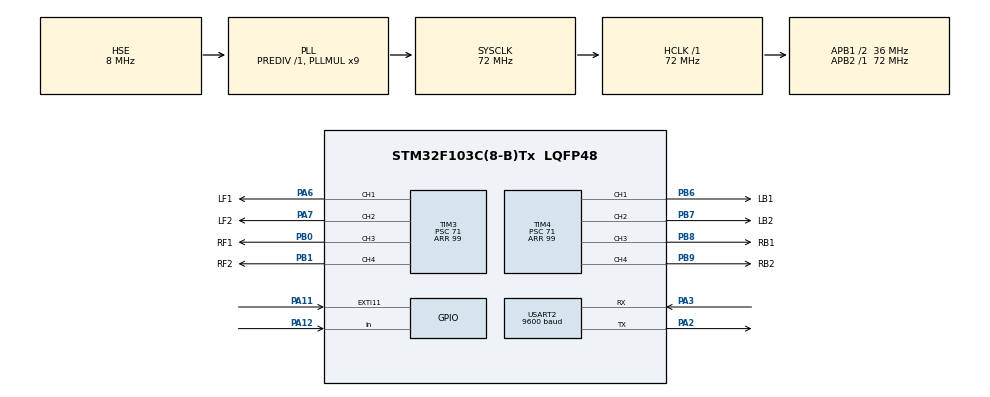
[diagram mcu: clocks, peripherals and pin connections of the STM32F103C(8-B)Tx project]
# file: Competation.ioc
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Mcu.Family=STM32F1
Mcu.Name=STM32F103C(8-B)Tx
Mcu.Package=LQFP48
NVIC.EXTI15_10_IRQn=true\:0\:0\:false\:false\:true\:true\:true\:true
NVIC.PriorityGroup=NVIC_PRIORITYGROUP_4
NVIC.USART2_IRQn=true\:0\:0\:false\:false\:true\:true\:true\:true
PA11.Signal=GPXTI11
PA12.GPIO_PuPd=GPIO_PULLDOWN
PA12.Signal=GPIO_Input
PA13.Mode=Serial_Wire
PA13.Signal=SYS_JTMS-SWDIO
PA14.Mode=Serial_Wire
PA14.Signal=SYS_JTCK-SWCLK
PA2.Mode=Asynchronous
PA2.Signal=USART2_TX
PA3.Mode=Asynchronous
PA3.Signal=USART2_RX
PA6.GPIO_Label=LF1
PA6.Signal=S_TIM3_CH1
PA7.GPIO_Label=LF2
PA7.Signal=S_TIM3_CH2
PB0.GPIO_Label=RF1
PB0.Signal=S_TIM3_CH3
PB1.GPIO_Label=RF2
PB1.Signal=S_TIM3_CH4
PB6.GPIO_Label=LB1
PB6.Signal=S_TIM4_CH1
PB7.GPIO_Label=LB2
PB7.Signal=S_TIM4_CH2
PB8.GPIO_Label=RB1
PB8.Signal=S_TIM4_CH3
PB9.GPIO_Label=RB2
PB9.Signal=S_TIM4_CH4
PD0-OSC_IN.Mode=HSE-External-Oscillator
PD0-OSC_IN.Signal=RCC_OSC_IN
PD1-OSC_OUT.Mode=HSE-External-Oscillator
PD1-OSC_OUT.Signal=RCC_OSC_OUT
ProjectManager.HeapSize=0x200
ProjectManager.StackSize=0x400
ProjectManager.TargetToolchain=CMake
RCC.AHBFreq_Value=72000000
RCC.APB1CLKDivider=RCC_HCLK_DIV2
RCC.APB1Freq_Value=36000000
RCC.APB1TimFreq_Value=72000000
RCC.APB2Freq_Value=72000000
RCC.APB2TimFreq_Value=72000000
RCC.HCLKFreq_Value=72000000
RCC.PLLMUL=RCC_PLL_MUL9
RCC.PLLSourceVirtual=RCC_PLLSOURCE_HSE
RCC.SYSCLKFreq_VALUE=72000000
RCC.SYSCLKSource=RCC_SYSCLKSOURCE_PLLCLK
RCC.USBFreq_Value=72000000
SH.S_TIM3_CH1.0=TIM3_CH1,PWM Generation1 CH1
SH.S_TIM3_CH2.0=TIM3_CH2,PWM Generation2 CH2
SH.S_TIM3_CH3.0=TIM3_CH3,PWM Generation3 CH3
SH.S_TIM3_CH4.0=TIM3_CH4,PWM Generation4 CH4
SH.S_TIM4_CH1.0=TIM4_CH1,PWM Generation1 CH1
SH.S_TIM4_CH2.0=TIM4_CH2,PWM Generation2 CH2
SH.S_TIM4_CH3.0=TIM4_CH3,PWM Generation3 CH3
SH.S_TIM4_CH4.0=TIM4_CH4,PWM Generation4 CH4
TIM3.AutoReloadPreload=TIM_AUTORELOAD_PRELOAD_ENABLE
TIM3.Channel-PWM\ Generation1\ CH1=TIM_CHANNEL_1
TIM3.Channel-PWM\ Generation2\ CH2=TIM_CHANNEL_2
TIM3.Channel-PWM\ Generation3\ CH3=TIM_CHANNEL_3
TIM3.Channel-PWM\ Generation4\ CH4=TIM_CHANNEL_4
TIM3.CounterMode=TIM_COUNTERMODE_UP
TIM3.Period=99
TIM3.Prescaler=71
TIM4.AutoReloadPreload=TIM_AUTORELOAD_PRELOAD_ENABLE
TIM4.Channel-PWM\ Generation1\ CH1=TIM_CHANNEL_1
TIM4.Channel-PWM\ Generation2\ CH2=TIM_CHANNEL_2
TIM4.Channel-PWM\ Generation3\ CH3=TIM_CHANNEL_3
TIM4.Channel-PWM\ Generation4\ CH4=TIM_CHANNEL_4
TIM4.Period=99
TIM4.Prescaler=71
USART2.BaudRate=9600
USART2.VirtualMode=VM_ASYNC
VP_TIM3_VS_ClockSourceINT.Mode=Internal
VP_TIM4_VS_ClockSourceINT.Mode=Internal
board=custom

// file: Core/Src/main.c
/* USER CODE BEGIN Header */
/**
  ******************************************************************************
  * @file           : main.c
  * @brief          : Main program body
  ******************************************************************************
  * @attention
  *
  * Copyright (c) 2026 STMicroelectronics.
  * All rights reserved.
  *
  * This software is licensed under terms that can be found in the LICENSE file
  * in the root directory of this software component.
  * If no LICENSE file comes with this software, it is provided AS-IS.
  *
  ******************************************************************************
  */
/* USER CODE END Header */
#include "main.h"
#include "tim.h"
#include "usart.h"
#include "gpio.h"

/* USER CODE BEGIN Includes */
#include "../../app/inc/app_motor.h"
#include "../../bsp/inc/Bluetooth.h"
#include "../../app/inc/motor_speed.h"
/* USER CODE END Includes */

/* USER CODE BEGIN PD */
/* 底盘调试模式：
 *   0 = 关闭，只跑你自己的正式逻辑；
 *   1 = 单轮点动标定：依次单独驱动 左前 -> 右前 -> 左后 -> 右后，各 1 秒。
 *       用来确认“哪个通道驱动哪个轮子”以及“正转是不是车头方向”；
 *   2 = 四动作自检：前进 -> 后退 -> 左转 -> 右转 -> 停车，各 1 秒。
 * 接线还没确认过时请用 1，标定完再改成 2 检查整车动作。 */
#define CAR_DEMO_MODE   0
/* USER CODE END PD */

void SystemClock_Config(void);

int main(void)
{

  /* MCU Configuration--------------------------------------------------------*/

  /* Reset of all peripherals, Initializes the Flash interface and the Systick. */
  HAL_Init();

  /* Configure the system clock */
  SystemClock_Config();

  /* Initialize all configured peripherals */
  MX_GPIO_Init();
  MX_TIM3_Init();
  MX_TIM4_Init();
  MX_USART2_UART_Init();
  /* USER CODE BEGIN 2 */
  HAL_UART_Receive_IT(&huart2, receive_Data, 1);
  /* 底盘初始化：启动 TIM3 / TIM4 共 8 路 PWM，默认速度 CAR_SPEED_DEFAULT */
  Car_Init();
  /* USER CODE END 2 */

  /* Infinite loop */
  /* USER CODE BEGIN WHILE */
  while (1)
  {
    Car_Backward();
    // HAL_Delay(10000);
    // Car_TurnRight();
    // HAL_Delay(2000);
    MotorSpeed_Calculation();
    /* USER CODE END WHILE */

    /* USER CODE BEGIN 3 */
#if (CAR_DEMO_MODE == 1)
    /* ---------- 单轮点动：同一时刻只有一个轮子转 ----------
     * 参数顺序是 (左前, 右前, 左后, 右后)，速度单位是百分比。
     * 每一段停下来时，记下：转的是哪个位置的轮子？转向是不是车头方向？ */
    Car_SetWheelSpeed( 40,  0,  0,  0);   /* 左前 LF：PA6 / PA7 */
    HAL_Delay(1000);
    Car_Stop();
    HAL_Delay(800);

    Car_SetWheelSpeed(  0, 40,  0,  0);   /* 右前 RF：PB0 / PB1 */
    HAL_Delay(1000);
    Car_Stop();
    HAL_Delay(800);

    Car_SetWheelSpeed(  0,  0, 40,  0);   /* 左后 LB：PB6 / PB7 */
    HAL_Delay(1000);
    Car_Stop();
    HAL_Delay(800);

    Car_SetWheelSpeed(  0,  0,  0, 40);   /* 右后 RB：PB8 / PB9 */
    HAL_Delay(1000);
    Car_Stop();
    HAL_Delay(1500);
#elif (CAR_DEMO_MODE == 2)
    /* ---------- 四动作自检：前进 -> 后退 -> 左转 -> 右转 -> 停车 ---------- */
    Car_Forward();
    HAL_Delay(1000);
    Car_Backward();
    HAL_Delay(1000);
    Car_TurnLeft();
    HAL_Delay(1000);
    Car_TurnRight();
    HAL_Delay(1000);
    Car_Stop();
    HAL_Delay(1000);
#else
    /* ---------- 正式逻辑写在这里，例如 ----------
     * Car_SetSpeed(60);
     * Car_Forward();
     * HAL_Delay(2000);
     * Car_TurnLeft();
     * HAL_Delay(500);
     * Car_Stop();
     */
#endif
  }
  /* USER CODE END 3 */
}

void SystemClock_Config(void)
{
  RCC_OscInitTypeDef RCC_OscInitStruct = {0};
  RCC_ClkInitTypeDef RCC_ClkInitStruct = {0};

  /** Initializes the RCC Oscillators according to the specified parameters
  * in the RCC_OscInitTypeDef structure.
  */
  RCC_OscInitStruct.OscillatorType = RCC_OSCILLATORTYPE_HSE;
  RCC_OscInitStruct.HSEState = RCC_HSE_ON;
  RCC_OscInitStruct.HSEPredivValue = RCC_HSE_PREDIV_DIV1;
  RCC_OscInitStruct.HSIState = RCC_HSI_ON;
  RCC_OscInitStruct.PLL.PLLState = RCC_PLL_ON;
  RCC_OscInitStruct.PLL.PLLSource = RCC_PLLSOURCE_HSE;
  RCC_OscInitStruct.PLL.PLLMUL = RCC_PLL_MUL9;
  if (HAL_RCC_OscConfig(&RCC_OscInitStruct) != HAL_OK)
  {
    Error_Handler();
  }

  /** Initializes the CPU, AHB and APB buses clocks
  */
  RCC_ClkInitStruct.ClockType = RCC_CLOCKTYPE_HCLK|RCC_CLOCKTYPE_SYSCLK
                              |RCC_CLOCKTYPE_PCLK1|RCC_CLOCKTYPE_PCLK2;
  RCC_ClkInitStruct.SYSCLKSource = RCC_SYSCLKSOURCE_PLLCLK;
  RCC_ClkInitStruct.AHBCLKDivider = RCC_SYSCLK_DIV1;
  RCC_ClkInitStruct.APB1CLKDivider = RCC_HCLK_DIV2;
  RCC_ClkInitStruct.APB2CLKDivider = RCC_HCLK_DIV1;

  if (HAL_RCC_ClockConfig(&RCC_ClkInitStruct, FLASH_LATENCY_2) != HAL_OK)
  {
    Error_Handler();
  }
}

void Error_Handler(void)
{
  __disable_irq();
  while (1)
  {
  }
}
